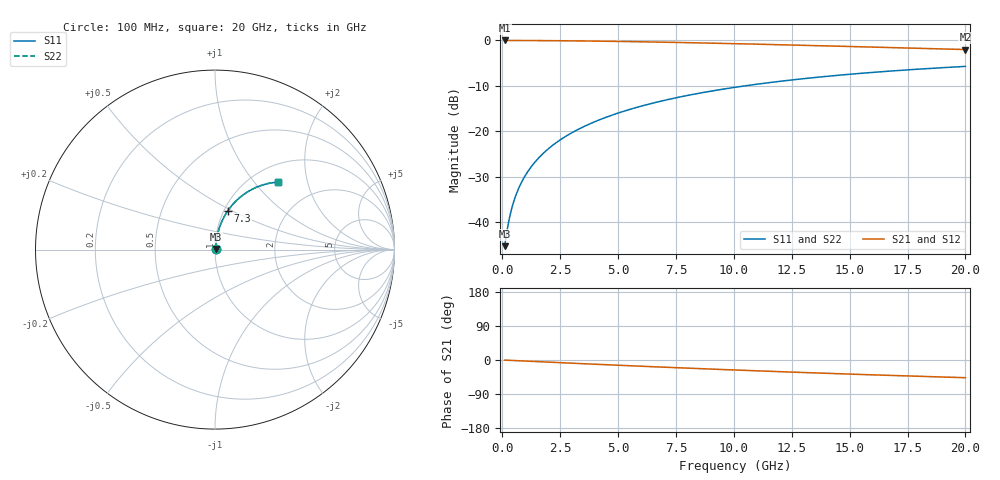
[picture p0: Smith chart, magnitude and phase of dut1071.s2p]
! Touchstone file exported from HFSS 2024.1.0
!  File:  C:/UserFiles/LocalFiles/RDL_TSV_Batchsim/temp_RDL_bottom_1071_1780052759.aedt
!  Generated:  07:08:37 PM May 29, 2026
!  Design:  RDL_bottom
!  Project:  temp_RDL_bottom_1071_1780052759
!  Setup:  Setup1
!  Solution:  Sweep
! Variables:
!  dtsv = 10.80580581um
!  hbump = 3um
!  htsv = 68.6um
!  ldown = 594.33um
!  lrdl = 100um
!  p = 40
!  p1 = 56.02um
!  rhole = 1um
!  t = 450um
!  tdown = 3.92um
!  trdl = 3.915915916um
!  wdown = 12.75um
!  wrdl = 20um
# GHz S MA R 50.000000
! Terminal data exported
! Port[1] = RDL1_T1
! Port[2] = RDL1_T2
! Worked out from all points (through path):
!   200 points, 100 MHz to 20 GHz, reference 50 ohm
!   highest |S21| = -0.04 dB at 100 MHz (marker M1); lowest = -2.0 dB at 20 GHz (marker M2)
!   group delay of S21, straight-line fit = 6.48 ps
!   lowest |S11| = -45.3 dB at 100 MHz (marker M3), VSWR 1.01, Z = 50.4 + j0.333 ohm
!   |S11| at or under -10 dB: start of sweep to 10.53 GHz
!   |S22| runs from -45.3 to -5.8 dB; largest |S21 - S12| = 2.6e-15
!   S11 on the Smith chart (normalised r, x): 100 MHz: 1.01, +0.01; 7.3 GHz: 1.04, +0.47; 20 GHz: 1.31, +1.34
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0.1  0.005406 37.7  0.9957 -0.3  0.9957 -0.3  0.005406 37.7
! Gamma 0 0 0 0
! Port Impedance 50 0 50 0
0.2  0.007909 56.4  0.9956 -0.6  0.9956 -0.6  0.007909 56.4
0.3  0.01083 65.3  0.9955 -0.9  0.9955 -0.9  0.01083 65.3
0.4  0.01388 70.2  0.9953 -1.2  0.9953 -1.2  0.01388 70.2
0.5  0.01697 73.2  0.9952 -1.4  0.9952 -1.4  0.01697 73.3
0.6  0.02008 75.3  0.995 -1.7  0.995 -1.7  0.02008 75.3
0.8  0.02634 77.8  0.9946 -2.3  0.9946 -2.3  0.02634 77.8
1.1  0.03578 79.7  0.994 -3.1  0.994 -3.1  0.03578 79.7
1.5  0.0484 80.7  0.9929 -4.3  0.9929 -4.3  0.0484 80.7
1.8  0.05789 81.0  0.9919 -5.1  0.9919 -5.1  0.05789 81.0
2.1  0.06737 80.9  0.9907 -5.9  0.9907 -5.9  0.06738 80.9
2.7  0.08632 80.4  0.9879 -7.6  0.9879 -7.6  0.08632 80.4
3.5  0.1114 79.3  0.9832 -9.8  0.9832 -9.8  0.1114 79.3
4.2  0.1333 78.1  0.9783 -11.7  0.9783 -11.7  0.1333 78.1
5  0.1579 76.6  0.9719 -13.9  0.9719 -13.9  0.1579 76.6
6.8  0.2121 72.9  0.9549 -18.5  0.9549 -18.5  0.2121 72.9
7.3  0.2268 71.8  0.9496 -19.8  0.9496 -19.8  0.2268 71.8
8.6  0.2639 69.0  0.9351 -23.0  0.9351 -23.0  0.264 69.1
10.1  0.3049 65.9  0.9172 -26.5  0.9172 -26.5  0.305 65.9
13.4  0.387 59.0  0.8754 -33.9  0.8754 -33.9  0.3871 59.1
16.7  0.4572 52.7  0.8325 -40.6  0.8325 -40.6  0.4573 52.7
20  0.5156 46.8  0.7907 -46.7  0.7907 -46.7  0.5158 46.8
